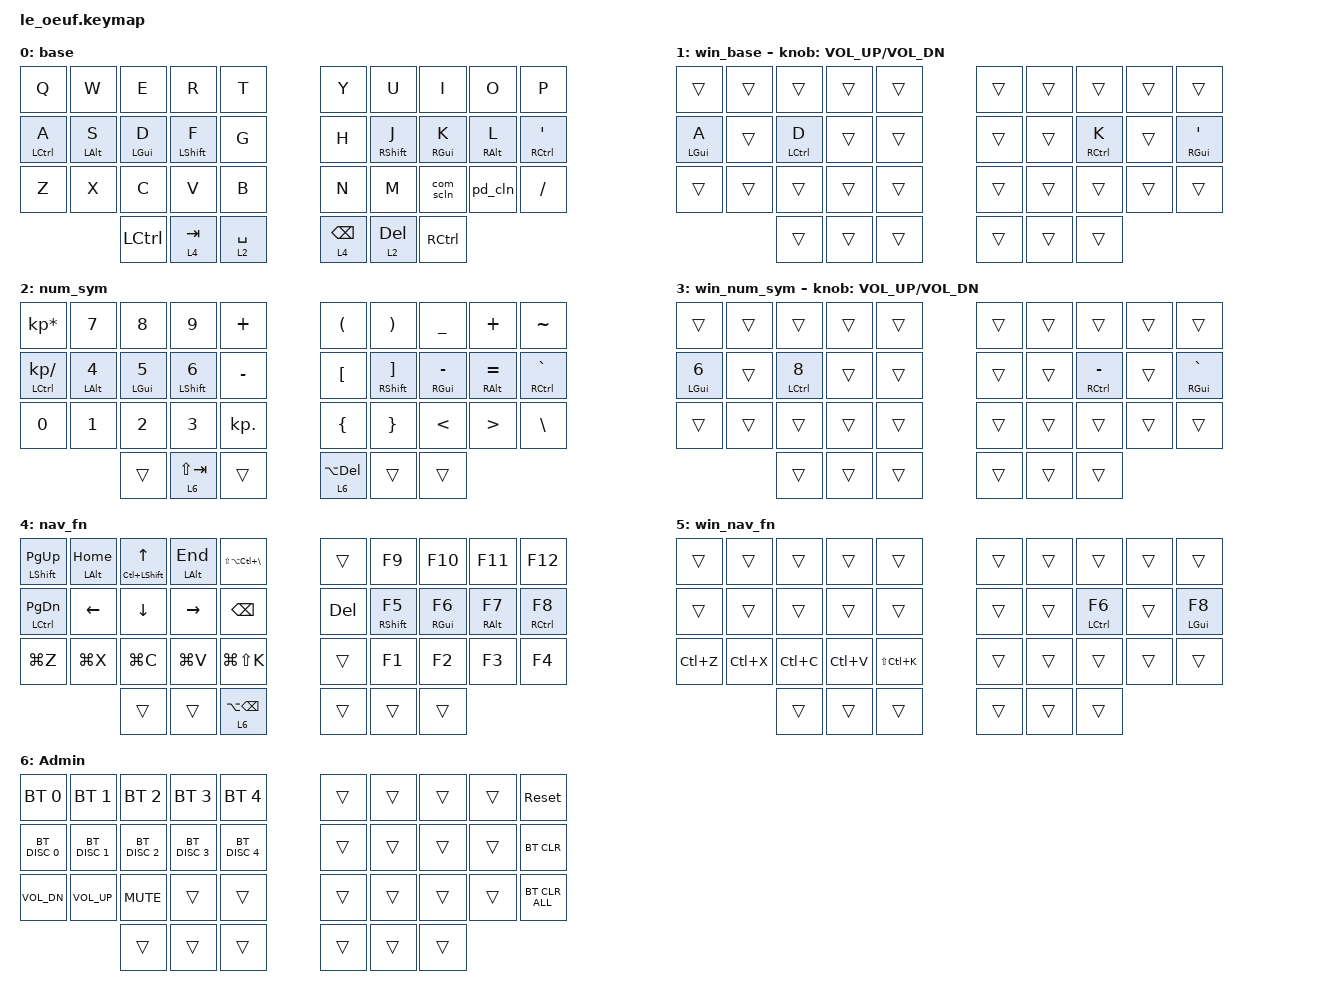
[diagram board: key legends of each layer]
/*
 * Copyright (c) 2020 The ZMK Contributors
 *
 * SPDX-License-Identifier: MIT
 */

#include <behaviors.dtsi>
#include <dt-bindings/zmk/bt.h>
#include <dt-bindings/zmk/keys.h>

&soft_off { hold-time-ms = <5000>; };

&lt { quick-tap-ms = <200>; };

&mt {
    quick-tap-ms = <200>;
    flavor = "balanced";
};

/ {
    combos {
        compatible = "zmk,combos";

        left_enter {
            bindings = <&kp ENTER>;
            key-positions = <1 12 23>;
        };

        right_enter {
            bindings = <&kp ENTER>;
            key-positions = <8 17 26>;
        };

        esc {
            bindings = <&kp ESCAPE>;
            key-positions = <0 1>;
        };

        tab {
            bindings = <&kp TAB>;
            key-positions = <3 14>;
        };

        shift_tab {
            bindings = <&kp LS(TAB)>;
            key-positions = <2 13>;
        };

        hold_space {
            bindings = <&kp SPACE>;
            key-positions = <32 24>;
        };

        caps_word {
            bindings = <&caps_word>;
            key-positions = <13 16>;
        };

        toggle_nav {
            bindings = <&tog 4>;
            key-positions = <11 2 13>;
            layers = <0 2>;
            require-prior-idle-ms = <350>;
        };

        jsdoc {
            bindings = <&jsdoc>;
            key-positions = <29 28>;
        };

        caps_lock {
            bindings = <&kp CAPSLOCK>;
            key-positions = <13 12 16 17>;
        };

        screen_shot {
            bindings = <&kp LS(LG(N5))>;
            key-positions = <0 11>;
        };

        bootloader {
            bindings = <&bootloader>;
            key-positions = <4 14 5 15>;
        };

        bt_clear_all {
            bindings = <&bt BT_CLR_ALL>;
            key-positions = <20 21 29 28 22 27>;
        };

        reset {
            bindings = <&sys_reset>;
            key-positions = <30 31 32 33 34 35>;
        };

        globe {
            bindings = <&kp GLOBE>;
            key-positions = <21 20 22>;
        };

        toggle_win {
            bindings = <&tog 1>;
            key-positions = <0 9>;
        };

        screenshot_win {
            bindings = <&kp LS(LG(S))>;
            key-positions = <0 11>;
            layers = <1>;
        };

        force_quit_mac {
            bindings = <&kp LA(LG(ESCAPE))>;
            key-positions = <0 1 2>;
        };

        mo_6_left {
            bindings = <&mo 6>;
            key-positions = <30 31>;
        };

        mo_6_right {
            bindings = <&mo 6>;
            key-positions = <34 35>;
        };

        studio_unlock {
            bindings = <&studio_unlock>;
            key-positions = <20 21 28 29>;
        };

        pw {
            bindings = <&pw>;
            key-positions = <0 1 8 9>;
        };
    };

    behaviors {
        hml: HOMEROW_L_MODS {
            compatible = "zmk,behavior-hold-tap";
            label = "HOMEROW_L_MODS";
            bindings = <&kp>, <&kp>;

            #binding-cells = <2>;
            tapping-term-ms = <190>;
            quick-tap-ms = <190>;
            flavor = "balanced";
            require-prior-idle-ms = <150>;
            hold-trigger-key-positions = <5 6 7 8 9 15 16 17 18 19 25 26 27 28 33 34 29 35>;
            hold-trigger-on-release;
        };

        hsl: HOMEROW_L_SHIFT {
            compatible = "zmk,behavior-hold-tap";
            label = "HOMEROW_L_SHIFT";
            bindings = <&kp>, <&kp>;

            #binding-cells = <2>;
            tapping-term-ms = <190>;
            quick-tap-ms = <190>;
            flavor = "balanced";
            require-prior-idle-ms = <0>;
            hold-trigger-key-positions = <5 15 25 6 16 26 7 8 9 9 17 18 19 27 28 34 33 29 35>;
            hold-trigger-on-release;
        };

        com_scln: comma_semicolon {
            compatible = "zmk,behavior-mod-morph";
            label = "COMMA_SEMICOLON";
            bindings = <&kp COMMA>, <&kp SEMICOLON>;

            #binding-cells = <0>;
            mods = <(MOD_LSFT|MOD_RSFT)>;
        };

        pd_cln: period_colon {
            compatible = "zmk,behavior-mod-morph";
            label = "PERIOD_COLON";
            bindings = <&kp PERIOD>, <&kp COLON>;

            #binding-cells = <0>;
            mods = <(MOD_LSFT|MOD_RSFT)>;
        };

        hmr: HOMEROW_R_MODS {
            compatible = "zmk,behavior-hold-tap";
            label = "HOMEROW_R_MODS";
            bindings = <&kp>, <&kp>;

            #binding-cells = <2>;
            tapping-term-ms = <190>;
            quick-tap-ms = <190>;
            flavor = "balanced";
            require-prior-idle-ms = <150>;
            hold-trigger-key-positions = <0 1 2 3 4 10 11 12 13 14 20 21 22 23 24 32 31 30>;
            hold-trigger-on-release;
        };

        hsr: HOMEROW_R_SHIFT {
            compatible = "zmk,behavior-hold-tap";
            label = "HOMEROW_R_SHIFT";
            bindings = <&kp>, <&kp>;

            #binding-cells = <2>;
            tapping-term-ms = <190>;
            quick-tap-ms = <190>;
            flavor = "balanced";
            require-prior-idle-ms = <0>;
            hold-trigger-key-positions = <0 1 2 3 4 10 11 12 13 14 20 21 22 23 24 31 32 30>;
            hold-trigger-on-release;
        };
    };

    macros {
        jsdoc: jsdoc {
            compatible = "zmk,behavior-macro";
            #binding-cells = <0>;
            bindings = <&kp FSLH &kp STAR &kp STAR &kp SPACE>;
            label = "JSDOC";
        };

        pw: pw {
            compatible = "zmk,behavior-macro";
            #binding-cells = <0>;
            bindings = <&kp LS(M) &kp A &kp C &kp H &kp I &kp N &kp E &kp R &kp Y &kp SPACE &kp J &kp U &kp N &kp G &kp L &kp E &kp SPACE &kp T &kp R &kp O &kp P &kp I &kp C &kp A &kp L &kp SPACE &kp R &kp O &kp A &kp R &kp N1>;
            label = "PW";
        };
    };

    keymap {
        compatible = "zmk,keymap";

        base {
            bindings = <
&kp Q         &kp W        &kp E        &kp R         &kp T          &kp Y            &kp U         &kp I        &kp O        &kp P
&hml LCTRL A  &hml LALT S  &hml LGUI D  &hsl LSHFT F  &kp G          &kp H            &hsr RSHFT J  &hmr RGUI K  &hmr RALT L  &hmr RCTRL SQT
&kp Z         &kp X        &kp C        &kp V         &kp B          &kp N            &kp M         &com_scln    &pd_cln      &kp FSLH
                           &kp LCTRL    &lt 4 TAB     &lt 2 SPACE    &lt 4 BACKSPACE  &lt 2 DELETE  &kp RCTRL
            >;
        };

        win_base {
            bindings = <
&trans       &trans  &trans        &trans  &trans    &trans  &trans  &trans        &trans  &trans
&hml LGUI A  &trans  &hml LCTRL D  &trans  &trans    &trans  &trans  &hmr RCTRL K  &trans  &hmr RGUI SQT
&trans       &trans  &trans        &trans  &trans    &trans  &trans  &trans        &trans  &trans
                     &trans        &trans  &trans    &trans  &trans  &trans
            >;

            sensor-bindings = <&inc_dec_kp C_VOL_UP C_VOL_DN>;
        };

        num_sym {
            bindings = <
&kp KP_MULTIPLY       &kp N7                  &kp N8        &kp N9              &kp PLUS      &kp LEFT_PARENTHESIS  &kp RIGHT_PARENTHESIS           &kp UNDER        &kp PLUS              &kp TILDE
&hml LCTRL KP_DIVIDE  &hml LEFT_ALT NUMBER_4  &hml LGUI N5  &hsl LEFT_SHIFT N6  &kp MINUS     &kp LEFT_BRACKET      &hsr RIGHT_SHIFT RIGHT_BRACKET  &hmr RGUI MINUS  &hmr RIGHT_ALT EQUAL  &hmr RCTRL GRAVE
&kp N0                &kp NUMBER_1            &kp NUMBER_2  &kp NUMBER_3        &kp KP_DOT    &kp LEFT_BRACE        &kp RIGHT_BRACE                 &kp LESS_THAN    &kp GREATER_THAN      &kp BSLH
                                              &trans        &lt 6 LS(TAB)       &trans        &lt 6 LA(DELETE)      &trans                          &trans
            >;
        };

        win_num_sym {
            bindings = <
&trans              &trans  &trans         &trans  &trans    &trans  &trans  &trans            &trans  &trans
&hml LGUI NUMBER_6  &trans  &hml LCTRL N8  &trans  &trans    &trans  &trans  &hmr RCTRL MINUS  &trans  &hmr RGUI GRAVE
&trans              &trans  &trans         &trans  &trans    &trans  &trans  &trans            &trans  &trans
                            &trans         &trans  &trans    &trans  &trans  &trans
            >;

            sensor-bindings = <&inc_dec_kp C_VOL_UP C_VOL_DN>;
        };

        nav_fn {
            bindings = <
&mt LSHIFT PG_UP        &mt LEFT_ALT HOME  &mt LC(LSHIFT) UP_ARROW  &mt LEFT_ALT END  &kp LS(LA(LC(BACKSLASH)))    &trans      &kp F9         &kp F10       &kp F11            &kp F12
&mt LEFT_CONTROL PG_DN  &kp LEFT_ARROW     &kp DOWN_ARROW           &kp RIGHT_ARROW   &kp BACKSPACE                &kp DELETE  &hsr RSHFT F5  &hmr RGUI F6  &hmr RIGHT_ALT F7  &hmr RCTRL F8
&kp LG(Z)               &kp LG(X)          &kp LG(C)                &kp LG(V)         &kp LG(LS(K))                &trans      &kp F1         &kp F2        &kp F3             &kp F4
                                           &trans                   &trans            &lt 6 LA(BACKSPACE)          &trans      &trans         &trans
            >;
        };

        win_nav_fn {
            bindings = <
&trans     &trans     &trans     &trans     &trans           &trans  &trans  &trans         &trans  &trans
&trans     &trans     &trans     &trans     &trans           &trans  &trans  &hmr LCTRL F6  &trans  &hmr LGUI F8
&kp LC(Z)  &kp LC(X)  &kp LC(C)  &kp LC(V)  &kp LS(LC(K))    &trans  &trans  &trans         &trans  &trans
                      &trans     &trans     &trans           &trans  &trans  &trans
            >;
        };

        Admin {
            bindings = <
&bt BT_SEL 0   &bt BT_SEL 1   &bt BT_SEL 2   &bt BT_SEL 3   &bt BT_SEL 4     &trans  &trans  &trans  &trans  &sys_reset
&bt BT_DISC 0  &bt BT_DISC 1  &bt BT_DISC 2  &bt BT_DISC 3  &bt BT_DISC 4    &trans  &trans  &trans  &trans  &bt BT_CLR
&kp C_VOL_DN   &kp C_VOL_UP   &kp K_MUTE     &trans         &trans           &trans  &trans  &trans  &trans  &bt BT_CLR_ALL
                              &trans         &trans         &trans           &trans  &trans  &trans
            >;
        };
    };

    conditional_layers {
        compatible = "zmk,conditional-layers";

        num_sym_win {
            if-layers = <1 2>;
            then-layer = <3>;
        };

        nav_func_win {
            if-layers = <1 4>;
            then-layer = <5>;
        };
    };
};
